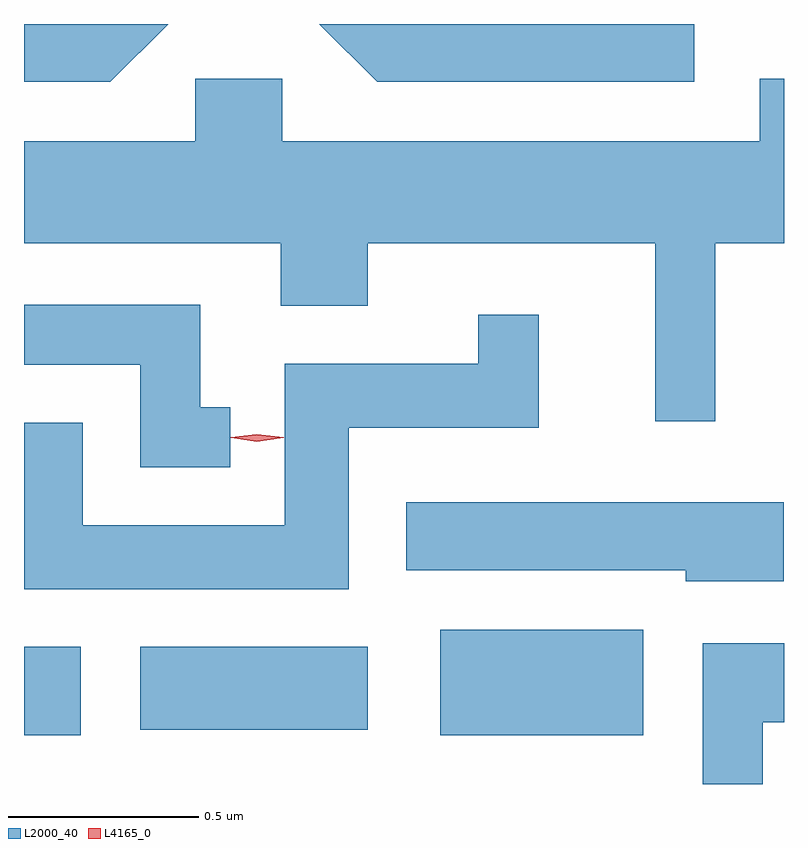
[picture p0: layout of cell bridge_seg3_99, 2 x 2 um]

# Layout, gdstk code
import gdstk
lib = gdstk.Library(unit=1e-6, precision=1e-09)
def R(c, l, rs):  # rectangles x0, y0, x1, y1
    for r in rs: c.add(gdstk.rectangle(r[:2], r[2:], *l))
def P(c, l, *ps):  # polygons
    for p in ps: c.add(gdstk.Polygon(p, *l))
L2000_40 = (2000, 40)
L4165_0 = (4165, 0)

bridge_seg3_99 = lib.new_cell('bridge_seg3_99')
R(bridge_seg3_99, L2000_40, [(1081.915,1251.261,1082.064,1251.494), (1083.011,1251.261,1083.544,1251.539), (1082.221,1251.276,1082.819,1251.494)])
P(bridge_seg3_99, L2000_40, [(1082.294,1253.133),(1081.915,1253.133),(1081.915,1252.981),(1082.142,1252.981)],
  [(1083.679,1253.133),(1082.692,1253.133),(1082.844,1252.981),(1083.679,1252.981)],
  [(1083.734,1252.556),(1083.915,1252.556),(1083.915,1252.989),(1083.851,1252.989),(1083.851,1252.824),(1082.594,1252.824),(1082.594,1252.989),(1082.366,1252.989),(1082.366,1252.824),(1081.915,1252.824),(1081.915,1252.556),(1082.591,1252.556),(1082.591,1252.391),(1082.819,1252.391),(1082.819,1252.556),(1083.576,1252.556),(1083.576,1252.088),(1083.734,1252.088)],
  [(1082.458,1252.124),(1082.379,1252.124),(1082.379,1252.394),(1081.915,1252.394),(1081.915,1252.236),(1082.221,1252.236),(1082.221,1251.966),(1082.458,1251.966)],
  [(1082.769,1252.071),(1083.269,1252.071),(1083.269,1252.368),(1083.111,1252.368),(1083.111,1252.239),(1082.601,1252.239),(1082.601,1251.814),(1082.069,1251.814),(1082.069,1252.084),(1081.915,1252.084),(1081.915,1251.646),(1082.769,1251.646)],
  [(1083.914,1251.874),(1082.921,1251.874),(1082.921,1251.696),(1083.656,1251.696),(1083.656,1251.666),(1083.914,1251.666)],
  [(1083.859,1251.296),(1083.915,1251.296),(1083.915,1251.504),(1083.701,1251.504),(1083.701,1251.133),(1083.859,1251.133)])
P(bridge_seg3_99, L4165_0, [(1082.528,1252.034),(1082.459,1252.044),(1082.459,1252.044),(1082.459,1252.045),(1082.528,1252.054),(1082.598,1252.045),(1082.598,1252.044),(1082.598,1252.044)])

lib.write_gds('bridge_seg3_99.gds')
